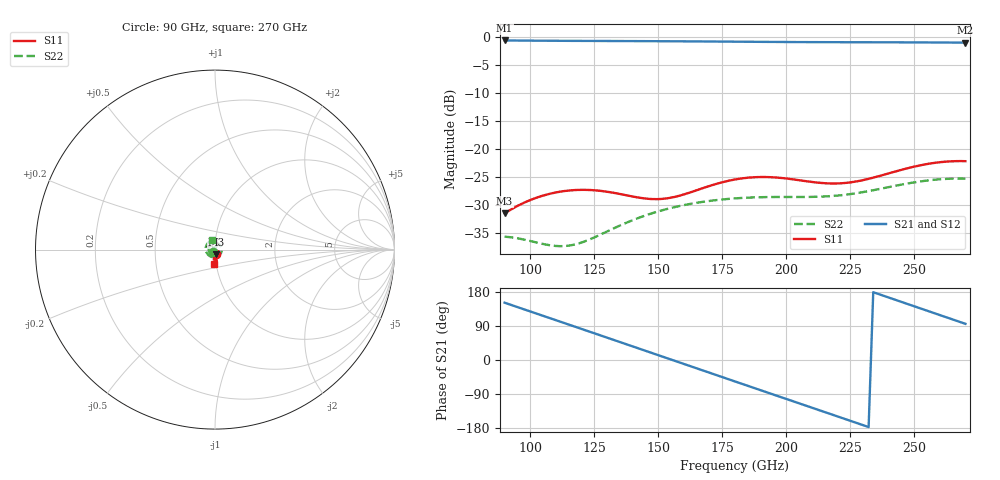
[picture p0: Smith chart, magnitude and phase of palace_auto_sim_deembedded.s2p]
! Created with skrf 1.11.0 (http://scikit-rf.org).
# GHz S DB R 50.0
!freq dBS11 angS11 dBS21 angS21 dBS12 angS12 dBS22 angS22
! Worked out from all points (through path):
!   101 points, 90 GHz to 270 GHz, reference 50 ohm
!   highest |S21| = -0.68 dB at 90 GHz (marker M1); lowest = -1.1 dB at 270 GHz (marker M2)
!   group delay of S21, straight-line fit = 6.42 ps
!   lowest |S11| = -31.5 dB at 90 GHz (marker M3), VSWR 1.05, Z = 50.7 - j2.6 ohm
!   |S11| at or under -10 dB: start of sweep to end of sweep
!   |S22| runs from -37.3 to -25.3 dB; largest |S21 - S12| = 1e-13
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90  -31.47 -74.0  -0.68 151.2  -0.68 151.2  -35.62 -128.9
99  -29.30 -76.7  -0.70 130.5  -0.70 130.5  -36.29 -165.9
106.2  -28.16 -82.0  -0.72 113.9  -0.72 113.9  -37.04 157.6
113.4  -27.50 -88.1  -0.74 97.3  -0.74 97.3  -37.30 115.5
120.6  -27.28 -94.1  -0.76 80.7  -0.76 80.7  -36.58 72.3
127.8  -27.49 -98.9  -0.77 64.1  -0.77 64.1  -35.18 32.6
136.8  -28.18 -101.2  -0.78 43.3  -0.78 43.3  -33.30 -11.2
151.2  -28.91 -92.5  -0.81 10.0  -0.81 10.0  -30.97 -74.3
158.4  -28.32 -86.3  -0.83 -6.6  -0.83 -6.6  -30.16 -104.8
165.6  -27.27 -83.3  -0.85 -23.3  -0.85 -23.3  -29.55 -135.2
180  -25.44 -87.2  -0.89 -56.6  -0.89 -56.6  -28.81 163.4
187.2  -25.05 -91.4  -0.91 -73.2  -0.91 -73.2  -28.63 132.0
194.4  -25.04 -95.2  -0.94 -89.8  -0.94 -89.8  -28.56 99.8
201.6  -25.35 -97.5  -0.95 -106.4  -0.95 -106.4  -28.56 66.5
210.6  -25.91 -96.5  -0.97 -127.1  -0.97 -127.1  -28.53 23.2
219.6  -26.15 -91.4  -0.98 -147.9  -0.98 -147.9  -28.32 -21.8
226.8  -25.84 -86.3  -0.99 -164.5  -0.99 -164.5  -27.93 -58.0
234  -25.11 -82.5  -1.00 178.9  -1.00 178.9  -27.35 -93.4
241.2  -24.20 -81.1  -1.01 162.2  -1.01 162.2  -26.69 -127.3
248.4  -23.33 -82.2  -1.02 145.5  -1.02 145.5  -26.07 -159.6
257.4  -22.52 -86.1  -1.03 124.7  -1.03 124.7  -25.51 161.8
270  -22.18 -93.4  -1.06 95.5  -1.06 95.5  -25.29 108.9
